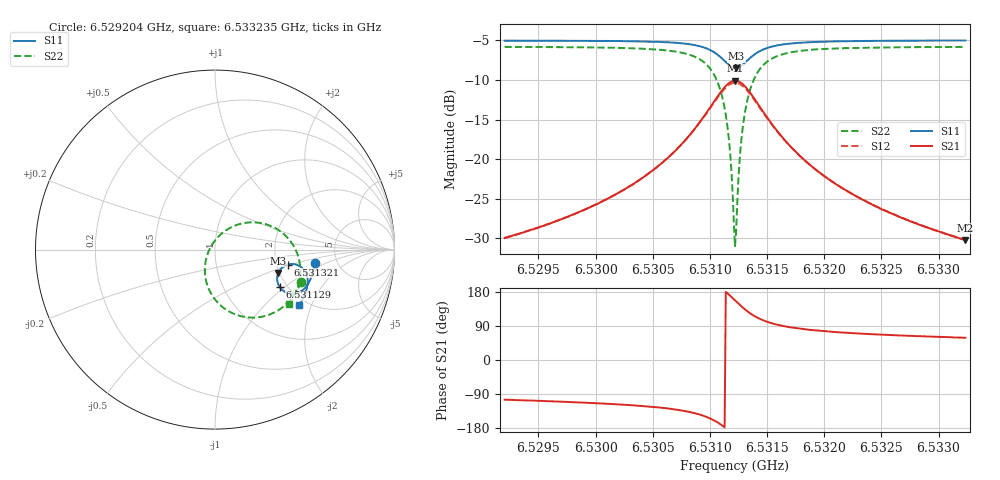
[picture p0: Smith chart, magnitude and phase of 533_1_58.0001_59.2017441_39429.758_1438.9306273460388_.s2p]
#  HZ  S  RI  R  50.00
! Rohde & Schwarz Vector Network Analyzer
! Rohde-Schwarz,ZNB20-2Port,1311601062101988,3.16
! Created: UTC 3/21/2024, 1:14:10 AM
! freq[Hz]  re:S11  im:S11  re:S21  im:S21  re:S12  im:S12  re:S22  im:S22
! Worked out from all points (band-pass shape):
!   401 points, 6.529204 GHz to 6.533235 GHz, reference 50 ohm
!   highest |S21| = -10.08 dB at 6.53122 GHz (marker M1); lowest = -30.2 dB at 6.533235 GHz (marker M2)
!   |S21| within 3 dB of the highest: 6.53102 GHz to 6.531423 GHz (403.3 kHz wide, 0.00618 % of centre)
!   lowest |S11| = -8.5 dB at 6.53123 GHz (marker M3), VSWR 2.21, Z = 98.6 - j29.8 ohm
!   |S11| at or under -10 dB: nowhere
!   |S22| runs from -31.0 to -5.8 dB; largest |S21 - S12| = 0.012
!   S11 on the Smith chart (normalised r, x): 6.529204 GHz: 3.38, -0.73; 6.531129 GHz: 1.83, -0.93; 6.531321 GHz: 2.31, -0.46; 6.533235 GHz: 1.82, -1.64
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6.5292043e9  0.5559 -0.0737  -0.00808 -0.0307  -0.00866 -0.0306  0.4803 -0.1786
6.5298795e9  0.5445 -0.13  -0.0178 -0.0438  -0.0189 -0.0433  0.4483 -0.2414
6.5302624e9  0.5319 -0.1656  -0.0309 -0.0573  -0.0323 -0.0565  0.4142 -0.2864
6.5305546e9  0.5145 -0.1973  -0.0528 -0.0746  -0.0549 -0.073  0.3648 -0.3299
6.5307864e9  0.4867 -0.2267  -0.0935 -0.0936  -0.0963 -0.0904  0.2827 -0.3689
6.5309577e9  0.4418 -0.245  -0.1629 -0.099  -0.1651 -0.0924  0.1549 -0.3733
6.5310585e9  0.3964 -0.2384  -0.2333 -0.0712  -0.2323 -0.0616  0.0364 -0.3155
6.531129e9  0.3613 -0.2095  -0.2847 -0.0111  -0.2785 -0.00101  -0.0401 -0.2057
6.5311693e9  0.3485 -0.1808  -0.3003 0.0433  -0.2909 0.0511  -0.0567 -0.1136
6.5312097e9  0.348 -0.1464  -0.2946 0.1049  -0.2834 0.1091  -0.0372 -0.0135
6.5312197e9  0.3501 -0.1379  -0.2895 0.1197  -0.2781 0.1232  -0.0263 0.0102
6.5312298e9  0.3532 -0.1296  -0.2828 0.1344  -0.2714 0.1367  -0.0129 0.0328
6.5312399e9  0.3573 -0.1217  -0.2747 0.1481  -0.2634 0.1493  0.00261 0.0539
6.5312701e9  0.3733 -0.1015  -0.2436 0.1828  -0.2337 0.1816  0.0588 0.1057
6.5312903e9  0.3864 -0.0918  -0.2193 0.1996  -0.2106 0.1971  0.1014 0.1294
6.5313205e9  0.4077 -0.083  -0.1816 0.2149  -0.1747 0.2114  0.1662 0.1486
6.531391e9  0.4518 -0.0835  -0.1044 0.2162  -0.1009 0.2127  0.2956 0.1375
6.5314918e9  0.49 -0.1065  -0.0383 0.1833  -0.0369 0.1815  0.4025 0.0682
6.531643e9  0.5117 -0.1437  0.000936 0.1351  0.00215 0.1344  0.4608 -0.0292
6.5318949e9  0.5163 -0.1875  0.0172 0.0879  0.0183 0.0877  0.475 -0.128
6.5325701e9  0.4971 -0.2581  0.0186 0.042  0.0194 0.0419  0.4461 -0.2446
6.5332351e9  0.4708 -0.308  0.0161 0.0264  0.0167 0.0262  0.4116 -0.3044
